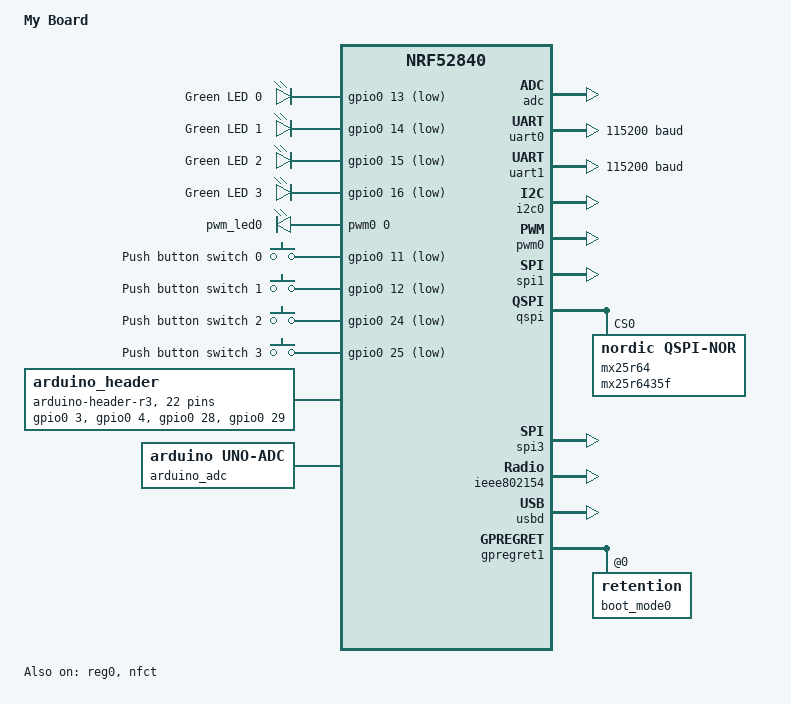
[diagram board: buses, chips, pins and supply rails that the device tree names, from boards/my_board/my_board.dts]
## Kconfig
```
menuconfig LED_SUBSYSTEM
    bool "Led Subsystem"
    default y

if LED_SUBSYSTEM

menuconfig LED_ADVANCED
    bool "LED Advanced system"
    default n

menu "Expert settings"
    visible if LED_ADVANCED

config LED_DEBUG
    bool "Enable LED Debugging"

config CUSTOM_BLINK_PATTERN
    bool "Enable Custom Blink Pattern"

endmenu  # for Expert Settings

choice
    prompt "LED blink speed"
    default BLINK_TIME_1000MS

config BLINK_TIME_250MS
    bool "Fast"

config BLINK_TIME_1000MS
    bool "Medium"

config BLINK_TIME_2000MS
    bool "Slow"

endchoice

config BLINK_TIME_TIME_MS # we use this in main.c for example
    int # <-- no prompt = hidden variable
    default 250  if BLINK_TIME_250MS
    default 1000 if BLINK_TIME_1000MS
    default 2000 if BLINK_TIME_2000MS
    default 0

if LED_ADVANCED

config LED_BRIGHTNESS
    int "LED brightness (0-100)"
    range 0 100
    default 100

config LED_FADE_DURATION_MS
    int "Fade duration (ms)"
    range 0 5000
    default 500

endif # LED_ADVANCED

endif # LED_SUBSYSTEM

# Timer for led0 overaly
config APP_HEARTBEAT_PERIOD_MS
    int "Timer for Heartbeat on led0(ms)"
    range 100 2000
    default 500

source "Kconfig.zephyr"

rsource "drivers/our_driver/Kconfig"
```

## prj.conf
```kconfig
CONFIG_GPIO=y
CONFIG_LOG=y
CONFIG_SENSOR=y
CONFIG_OUR_DRIVER=y
CONFIG_SHELL=y
CONFIG_SHELL_BACKEND_SERIAL=y
CONFIG_LOG_CMDS=y
```

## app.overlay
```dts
/ {
	aliases {
		app-led = &led0;
		app-led2 = &led2; // new LED alias controlled by channel_get_my_impl() in our_driver.c
	};
};

/ {
	our_driver0: our_driver {
		compatible = "our,driver";
		status = "okay";
		led = <&led2>;  // LED controlled by our_driver()
	};
};
```

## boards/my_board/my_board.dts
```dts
/*
 * Copyright (c) 2017 Linaro Limited
 *
 * SPDX-License-Identifier: Apache-2.0
 */

/dts-v1/;
#include <nordic/nrf52840_qiaa.dtsi>
#include <nordic/nrf52840_partition.dtsi>
#include "my_board-pinctrl.dtsi"
#include <zephyr/dt-bindings/input/input-event-codes.h>

/ {
	model = "My Board";
	compatible = "iomoco,my_board";

	chosen {
		zephyr,console = &uart0;
		zephyr,shell-uart = &uart0;
		zephyr,uart-mcumgr = &uart0;
		zephyr,bt-mon-uart = &uart0;
		zephyr,bt-c2h-uart = &uart0;
		zephyr,ieee802154 = &ieee802154;
		zephyr,boot-mode = &boot_mode0;
	};

	leds {
		compatible = "gpio-leds";

		led0: led_0 {
			gpios = <&gpio0 13 GPIO_ACTIVE_LOW>;
			label = "Green LED 0";
		};

		led1: led_1 {
			gpios = <&gpio0 14 GPIO_ACTIVE_LOW>;
			label = "Green LED 1";
		};

		led2: led_2 {
			gpios = <&gpio0 15 GPIO_ACTIVE_LOW>;
			label = "Green LED 2";
		};

		led3: led_3 {
			gpios = <&gpio0 16 GPIO_ACTIVE_LOW>;
			label = "Green LED 3";
		};
	};

	pwmleds {
		compatible = "pwm-leds";

		pwm_led0: pwm_led_0 {
			pwms = <&pwm0 0 PWM_MSEC(20) PWM_POLARITY_INVERTED>;
		};
	};

	buttons {
		compatible = "gpio-keys";

		button0: button_0 {
			gpios = <&gpio0 11 (GPIO_PULL_UP | GPIO_ACTIVE_LOW)>;
			label = "Push button switch 0";
			zephyr,code = <INPUT_KEY_0>;
		};

		button1: button_1 {
			gpios = <&gpio0 12 (GPIO_PULL_UP | GPIO_ACTIVE_LOW)>;
			label = "Push button switch 1";
			zephyr,code = <INPUT_KEY_1>;
		};

		button2: button_2 {
			gpios = <&gpio0 24 (GPIO_PULL_UP | GPIO_ACTIVE_LOW)>;
			label = "Push button switch 2";
			zephyr,code = <INPUT_KEY_2>;
		};

		button3: button_3 {
			gpios = <&gpio0 25 (GPIO_PULL_UP | GPIO_ACTIVE_LOW)>;
			label = "Push button switch 3";
			zephyr,code = <INPUT_KEY_3>;
		};
	};

	arduino_header: connector {
		compatible = "arduino-header-r3";
		#gpio-cells = <2>;
		gpio-map-mask = <0xffffffff 0xffffffc0>;
		gpio-map-pass-thru = <0 0x3f>;
		gpio-map = <0 0 &gpio0 3 0>,	/* A0 */
			   <1 0 &gpio0 4 0>,	/* A1 */
			   <2 0 &gpio0 28 0>,	/* A2 */
			   <3 0 &gpio0 29 0>,	/* A3 */
			   <4 0 &gpio0 30 0>,	/* A4 */
			   <5 0 &gpio0 31 0>,	/* A5 */
			   <6 0 &gpio1 1 0>,	/* D0 */
			   <7 0 &gpio1 2 0>,	/* D1 */
			   <8 0 &gpio1 3 0>,	/* D2 */
			   <9 0 &gpio1 4 0>,	/* D3 */
			   <10 0 &gpio1 5 0>,	/* D4 */
			   <11 0 &gpio1 6 0>,	/* D5 */
			   <12 0 &gpio1 7 0>,	/* D6 */
			   <13 0 &gpio1 8 0>,	/* D7 */
			   <14 0 &gpio1 10 0>,	/* D8 */
			   <15 0 &gpio1 11 0>,	/* D9 */
			   <16 0 &gpio1 12 0>,	/* D10 */
			   <17 0 &gpio1 13 0>,	/* D11 */
			   <18 0 &gpio1 14 0>,	/* D12 */
			   <19 0 &gpio1 15 0>,	/* D13 */
			   <20 0 &gpio0 26 0>,	/* D14 */
			   <21 0 &gpio0 27 0>;	/* D15 */
	};

	arduino_adc: analog-connector {
		compatible = "arduino,uno-adc";
		#io-channel-cells = <1>;
		io-channel-map = <0 &adc 1>,	/* A0 = P0.3 = AIN1 */
				 <1 &adc 2>,	/* A1 = P0.4 = AIN2 */
				 <2 &adc 4>,	/* A2 = P0.28 = AIN4 */
				 <3 &adc 5>,	/* A3 = P0.29 = AIN5 */
				 <4 &adc 6>,	/* A4 = P0.30 = AIN6 */
				 <5 &adc 7>;	/* A5 = P0.31 = AIN7 */
	};

	/* These aliases are provided for compatibility with samples */
	aliases {
		led0 = &led0;
		led1 = &led1;
		led2 = &led2;
		led3 = &led3;
		pwm-led0 = &pwm_led0;
		sw0 = &button0;
		sw1 = &button1;
		sw2 = &button2;
		sw3 = &button3;
		bootloader-led0 = &led0;
		mcuboot-button0 = &button0;
		mcuboot-led0 = &led0;
		watchdog0 = &wdt0;
	};
};

&reg0 {
	status = "okay";
};

&reg1 {
	regulator-initial-mode = <NRF5X_REG_MODE_DCDC>;
};

&adc {
	status = "okay";
};

&uicr {
	gpio-as-nreset;
};

&gpiote {
	status = "okay";
};

&nfct {
	status = "okay";
};

&gpio0 {
	status = "okay";
	gpio-reserved-ranges = <0 2>, <6 1>, <8 3>, <17 7>;
	gpio-line-names = "XL1", "XL2", "AREF", "A0", "A1", "RTS", "TXD",
		"CTS", "RXD", "NFC1", "NFC2", "BUTTON1", "BUTTON2", "LED1",
		"LED2", "LED3", "LED4", "QSPI CS", "RESET", "QSPI CLK",
		"QSPI DIO0", "QSPI DIO1", "QSPI DIO2", "QSPI DIO3","BUTTON3",
		"BUTTON4", "SDA", "SCL", "A2", "A3", "A4", "A5";
};

&gpio1 {
	status = "okay";
	gpio-line-names = "", "D0", "D1", "D2", "D3", "D4", "D5", "D6",
		"D7", "", "D8", "D9", "D10", "D11", "D12", "D13";
};

&uart0 {
	compatible = "nordic,nrf-uarte";
	status = "okay";
	current-speed = <115200>;
	pinctrl-0 = <&uart0_default>;
	pinctrl-1 = <&uart0_sleep>;
	pinctrl-names = "default", "sleep";
};

arduino_serial: &uart1 {
	current-speed = <115200>;
	pinctrl-0 = <&uart1_default>;
	pinctrl-1 = <&uart1_sleep>;
	pinctrl-names = "default", "sleep";
};

arduino_i2c: &i2c0 {
	compatible = "nordic,nrf-twi";
	status = "okay";
	pinctrl-0 = <&i2c0_default>;
	pinctrl-1 = <&i2c0_sleep>;
	pinctrl-names = "default", "sleep";
};

&i2c1 {
	compatible = "nordic,nrf-twi";
	/* Cannot be used together with spi1. */
	/* status = "okay"; */
	pinctrl-0 = <&i2c1_default>;
	pinctrl-1 = <&i2c1_sleep>;
	pinctrl-names = "default", "sleep";
};

&pwm0 {
	status = "okay";
	pinctrl-0 = <&pwm0_default>;
	pinctrl-1 = <&pwm0_sleep>;
	pinctrl-names = "default", "sleep";
};

&spi0 {
	compatible = "nordic,nrf-spi";
	/* Cannot be used together with i2c0. */
	/* status = "okay"; */
	pinctrl-0 = <&spi0_default>;
	pinctrl-1 = <&spi0_sleep>;
	pinctrl-names = "default", "sleep";
};

&spi1 {
	compatible = "nordic,nrf-spi";
	status = "okay";
	pinctrl-0 = <&spi1_default>;
	pinctrl-1 = <&spi1_sleep>;
	pinctrl-names = "default", "sleep";
};

&spi2 {
	compatible = "nordic,nrf-spi";
	status = "disabled";
	pinctrl-0 = <&spi2_default>;
	pinctrl-1 = <&spi2_sleep>;
	pinctrl-names = "default", "sleep";
};

&qspi {
	status = "okay";
	pinctrl-0 = <&qspi_default>;
	pinctrl-1 = <&qspi_sleep>;
	pinctrl-names = "default", "sleep";

	mx25r64: mx25r6435f@0 {
		compatible = "nordic,qspi-nor";
		reg = <0>;
		/* MX25R64 supports only pp and pp4io */
		writeoc = "pp4io";
		/* MX25R64 supports all readoc options */
		readoc = "read4io";
		sck-frequency = <8000000>;
		jedec-id = [c2 28 17];
		sfdp-bfp = [
			e5 20 f1 ff  ff ff ff 03  44 eb 08 6b  08 3b 04 bb
			ee ff ff ff  ff ff 00 ff  ff ff 00 ff  0c 20 0f 52
			10 d8 00 ff  23 72 f5 00  82 ed 04 cc  44 83 68 44
			30 b0 30 b0  f7 c4 d5 5c  00 be 29 ff  f0 d0 ff ff
		];
		size = <67108864>;
		has-dpd;
		t-enter-dpd = <10000>;
		t-exit-dpd = <35000>;
	};
};

arduino_spi: &spi3 {
	status = "okay";
	cs-gpios = <&arduino_header 16 GPIO_ACTIVE_LOW>; /* D10 */
	pinctrl-0 = <&spi3_default>;
	pinctrl-1 = <&spi3_sleep>;
	pinctrl-names = "default", "sleep";
};

&ieee802154 {
	status = "okay";
};

zephyr_udc0: &usbd {
	compatible = "nordic,nrf-usbd";
	status = "okay";
};

&gpregret1 {
	status = "okay";

	boot_mode0: boot_mode@0 {
		compatible = "zephyr,retention";
		status = "okay";
		reg = <0x0 0x1>;
	};
};
```

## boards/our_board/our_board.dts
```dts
/*
 * Copyright (c) 2017 Linaro Limited
 *
 * SPDX-License-Identifier: Apache-2.0
 */

/dts-v1/;
#include <nordic/nrf52840_qiaa.dtsi>
#include <nordic/nrf52840_partition.dtsi>
#include "our_board-pinctrl.dtsi"
#include <zephyr/dt-bindings/input/input-event-codes.h>

/ {
	model = "Our Board";
	compatible = "iomoco,our_board";

	chosen {
		zephyr,console = &uart0;
		zephyr,shell-uart = &uart0;
		zephyr,uart-mcumgr = &uart0;
		zephyr,bt-mon-uart = &uart0;
		zephyr,bt-c2h-uart = &uart0;
		zephyr,ieee802154 = &ieee802154;
		zephyr,boot-mode = &boot_mode0;
	};

	leds {
		compatible = "gpio-leds";

		led0: led_0 {
			gpios = <&gpio0 13 GPIO_ACTIVE_LOW>;
			label = "Green LED 0";
		};

		led1: led_1 {
			gpios = <&gpio0 14 GPIO_ACTIVE_LOW>;
			label = "Green LED 1";
		};

		led2: led_2 {
			gpios = <&gpio0 15 GPIO_ACTIVE_LOW>;
			label = "Green LED 2";
		};

		led3: led_3 {
			gpios = <&gpio0 16 GPIO_ACTIVE_LOW>;
			label = "Green LED 3";
		};
	};

	pwmleds {
		compatible = "pwm-leds";

		pwm_led0: pwm_led_0 {
			pwms = <&pwm0 0 PWM_MSEC(20) PWM_POLARITY_INVERTED>;
		};
	};

	buttons {
		compatible = "gpio-keys";

		button0: button_0 {
			gpios = <&gpio0 11 (GPIO_PULL_UP | GPIO_ACTIVE_LOW)>;
			label = "Push button switch 0";
			zephyr,code = <INPUT_KEY_0>;
		};

		button1: button_1 {
			gpios = <&gpio0 12 (GPIO_PULL_UP | GPIO_ACTIVE_LOW)>;
			label = "Push button switch 1";
			zephyr,code = <INPUT_KEY_1>;
		};

		button2: button_2 {
			gpios = <&gpio0 24 (GPIO_PULL_UP | GPIO_ACTIVE_LOW)>;
			label = "Push button switch 2";
			zephyr,code = <INPUT_KEY_2>;
		};

		button3: button_3 {
			gpios = <&gpio0 25 (GPIO_PULL_UP | GPIO_ACTIVE_LOW)>;
			label = "Push button switch 3";
			zephyr,code = <INPUT_KEY_3>;
		};
	};

	arduino_header: connector {
		compatible = "arduino-header-r3";
		#gpio-cells = <2>;
		gpio-map-mask = <0xffffffff 0xffffffc0>;
		gpio-map-pass-thru = <0 0x3f>;
		gpio-map = <0 0 &gpio0 3 0>,	/* A0 */
			   <1 0 &gpio0 4 0>,	/* A1 */
			   <2 0 &gpio0 28 0>,	/* A2 */
			   <3 0 &gpio0 29 0>,	/* A3 */
			   <4 0 &gpio0 30 0>,	/* A4 */
			   <5 0 &gpio0 31 0>,	/* A5 */
			   <6 0 &gpio1 1 0>,	/* D0 */
			   <7 0 &gpio1 2 0>,	/* D1 */
			   <8 0 &gpio1 3 0>,	/* D2 */
			   <9 0 &gpio1 4 0>,	/* D3 */
			   <10 0 &gpio1 5 0>,	/* D4 */
			   <11 0 &gpio1 6 0>,	/* D5 */
			   <12 0 &gpio1 7 0>,	/* D6 */
			   <13 0 &gpio1 8 0>,	/* D7 */
			   <14 0 &gpio1 10 0>,	/* D8 */
			   <15 0 &gpio1 11 0>,	/* D9 */
			   <16 0 &gpio1 12 0>,	/* D10 */
			   <17 0 &gpio1 13 0>,	/* D11 */
			   <18 0 &gpio1 14 0>,	/* D12 */
			   <19 0 &gpio1 15 0>,	/* D13 */
			   <20 0 &gpio0 26 0>,	/* D14 */
			   <21 0 &gpio0 27 0>;	/* D15 */
	};

	arduino_adc: analog-connector {
		compatible = "arduino,uno-adc";
		#io-channel-cells = <1>;
		io-channel-map = <0 &adc 1>,	/* A0 = P0.3 = AIN1 */
				 <1 &adc 2>,	/* A1 = P0.4 = AIN2 */
				 <2 &adc 4>,	/* A2 = P0.28 = AIN4 */
				 <3 &adc 5>,	/* A3 = P0.29 = AIN5 */
				 <4 &adc 6>,	/* A4 = P0.30 = AIN6 */
				 <5 &adc 7>;	/* A5 = P0.31 = AIN7 */
	};

	/* These aliases are provided for compatibility with samples */
	aliases {
		led0 = &led0;
		led1 = &led1;
		led2 = &led2;
		led3 = &led3;
		pwm-led0 = &pwm_led0;
		sw0 = &button0;
		sw1 = &button1;
		sw2 = &button2;
		sw3 = &button3;
		bootloader-led0 = &led0;
		mcuboot-button0 = &button0;
		mcuboot-led0 = &led0;
		watchdog0 = &wdt0;
	};
};

&reg0 {
	status = "okay";
};

&reg1 {
	regulator-initial-mode = <NRF5X_REG_MODE_DCDC>;
};

&adc {
	status = "okay";
};

&uicr {
	gpio-as-nreset;
};

&gpiote {
	status = "okay";
};

&nfct {
	status = "okay";
};

&gpio0 {
	status = "okay";
	gpio-reserved-ranges = <0 2>, <6 1>, <8 3>, <17 7>;
	gpio-line-names = "XL1", "XL2", "AREF", "A0", "A1", "RTS", "TXD",
		"CTS", "RXD", "NFC1", "NFC2", "BUTTON1", "BUTTON2", "LED1",
		"LED2", "LED3", "LED4", "QSPI CS", "RESET", "QSPI CLK",
		"QSPI DIO0", "QSPI DIO1", "QSPI DIO2", "QSPI DIO3","BUTTON3",
		"BUTTON4", "SDA", "SCL", "A2", "A3", "A4", "A5";
};

&gpio1 {
	status = "okay";
	gpio-line-names = "", "D0", "D1", "D2", "D3", "D4", "D5", "D6",
		"D7", "", "D8", "D9", "D10", "D11", "D12", "D13";
};

&uart0 {
	compatible = "nordic,nrf-uarte";
	status = "okay";
	current-speed = <115200>;
	pinctrl-0 = <&uart0_default>;
	pinctrl-1 = <&uart0_sleep>;
	pinctrl-names = "default", "sleep";
};

arduino_serial: &uart1 {
	current-speed = <115200>;
	pinctrl-0 = <&uart1_default>;
	pinctrl-1 = <&uart1_sleep>;
	pinctrl-names = "default", "sleep";
};

arduino_i2c: &i2c0 {
	compatible = "nordic,nrf-twi";
	status = "okay";
	pinctrl-0 = <&i2c0_default>;
	pinctrl-1 = <&i2c0_sleep>;
	pinctrl-names = "default", "sleep";
};

&i2c1 {
	compatible = "nordic,nrf-twi";
	/* Cannot be used together with spi1. */
	/* status = "okay"; */
	pinctrl-0 = <&i2c1_default>;
	pinctrl-1 = <&i2c1_sleep>;
	pinctrl-names = "default", "sleep";
};

&pwm0 {
	status = "okay";
	pinctrl-0 = <&pwm0_default>;
	pinctrl-1 = <&pwm0_sleep>;
	pinctrl-names = "default", "sleep";
};

&spi0 {
	compatible = "nordic,nrf-spi";
	/* Cannot be used together with i2c0. */
	/* status = "okay"; */
	pinctrl-0 = <&spi0_default>;
	pinctrl-1 = <&spi0_sleep>;
	pinctrl-names = "default", "sleep";
};

&spi1 {
	compatible = "nordic,nrf-spi";
	status = "okay";
	pinctrl-0 = <&spi1_default>;
	pinctrl-1 = <&spi1_sleep>;
	pinctrl-names = "default", "sleep";
};

&spi2 {
	compatible = "nordic,nrf-spi";
	status = "disabled";
	pinctrl-0 = <&spi2_default>;
	pinctrl-1 = <&spi2_sleep>;
	pinctrl-names = "default", "sleep";
};

&qspi {
	status = "okay";
	pinctrl-0 = <&qspi_default>;
	pinctrl-1 = <&qspi_sleep>;
	pinctrl-names = "default", "sleep";

	mx25r64: mx25r6435f@0 {
		compatible = "nordic,qspi-nor";
		reg = <0>;
		/* MX25R64 supports only pp and pp4io */
		writeoc = "pp4io";
		/* MX25R64 supports all readoc options */
		readoc = "read4io";
		sck-frequency = <8000000>;
		jedec-id = [c2 28 17];
		sfdp-bfp = [
			e5 20 f1 ff  ff ff ff 03  44 eb 08 6b  08 3b 04 bb
			ee ff ff ff  ff ff 00 ff  ff ff 00 ff  0c 20 0f 52
			10 d8 00 ff  23 72 f5 00  82 ed 04 cc  44 83 68 44
			30 b0 30 b0  f7 c4 d5 5c  00 be 29 ff  f0 d0 ff ff
		];
		size = <67108864>;
		has-dpd;
		t-enter-dpd = <10000>;
		t-exit-dpd = <35000>;
	};
};

arduino_spi: &spi3 {
	status = "okay";
	cs-gpios = <&arduino_header 16 GPIO_ACTIVE_LOW>; /* D10 */
	pinctrl-0 = <&spi3_default>;
	pinctrl-1 = <&spi3_sleep>;
	pinctrl-names = "default", "sleep";
};

&ieee802154 {
	status = "okay";
};

zephyr_udc0: &usbd {
	compatible = "nordic,nrf-usbd";
	status = "okay";
};

&gpregret1 {
	status = "okay";

	boot_mode0: boot_mode@0 {
		compatible = "zephyr,retention";
		status = "okay";
		reg = <0x0 0x1>;
	};
};
```

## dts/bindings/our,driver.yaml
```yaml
description: Our simple GPIO Driver
compatible: "our,driver"
include: base.yaml

properties:
  led:
    type: phandle
    required: true
    description: LED node (from a gpio-leds node) that this driver reads and toggles
```

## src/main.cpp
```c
#include <zephyr/drivers/gpio.h>
#include <zephyr/drivers/sensor.h>
#include <zephyr/kernel.h>
#include <zephyr/logging/log.h>

// refer to Heartbeat LED 
//#define LED_NODE DT_ALIAS(led1)
#define HBEAT_LED_NODE DT_ALIAS(app_led)

// Used by Dr Barry on Norid nRF52840-DK Board for LED0 Blink
//#define SLEEP_TIME_MS 1000 

/* The devicetree node identifier for the "led0" alias. */
//#define LED_NODE DT_ALIAS(led0)

// static const struct gpio_dt_spec led = GPIO_DT_SPEC_GET(LED_NODE, gpios);

/* The devicetree node identifier for the "Heart Beat LED alias. */
static const struct gpio_dt_spec hbeat_led = GPIO_DT_SPEC_GET(HBEAT_LED_NODE, gpios);

LOG_MODULE_REGISTER(main, LOG_LEVEL_INF);

namespace {
  // led_on = true:  sensor_sample_fetch() -> our driver turns LED2 ON
  // led_on = false: sensor_channel_get()  -> our driver turns LED2 OFF
  void test(bool led_on) {
    const struct device* driver = DEVICE_DT_GET(DT_NODELABEL(our_driver0));

    if (led_on) {
      int ret = sensor_sample_fetch(driver);
      LOG_INF("Sample fetch ret %d, LED2 is now ON", ret);
    } else {
      struct sensor_value val;
      int ret = sensor_channel_get(driver, SENSOR_CHAN_AMBIENT_TEMP, &val);
      LOG_INF("Channel get ret %d, LED2 was %s, now OFF", ret, val.val1 ? "ON" : "OFF");
    }
   }
  }


int main(void)
{
    bool led_state = true;
    bool hbeat_led_state = true;

   // if (!gpio_is_ready_dt(&led)) return 0;
    //if (gpio_pin_configure_dt(&led, GPIO_OUTPUT_ACTIVE) < 0) return 0;

    // Check Heart Beat LED is ready and ACTIVE as an output
    if (!gpio_is_ready_dt(&hbeat_led)) return 0;
    if (gpio_pin_configure_dt(&hbeat_led, GPIO_OUTPUT_ACTIVE) < 0) return 0;

    while (1) {
      
      //if (gpio_pin_toggle_dt(&led) < 0) return 0;
      // led_state = !led_state;
      // Toggle led state
      // LOG_INF("LED state: %s", led_state ? "ON" : "OFF");
      //  k_msleep(SLEEP_TIME_MS);
      //  k_msleep(CONFIG_BLINK_TIME_TIME_MS);

        // Attempt to Toggle the Heart beat LED state: return to OS if it fails to Toggle
        if (gpio_pin_toggle_dt(&hbeat_led) < 0) return 0;
        // Toggle Heart beat state variable
        hbeat_led_state = !hbeat_led_state;
        // Print out the Heartbeat led state
        LOG_INF("Heartbeat LED state: %s", hbeat_led_state ? "ON" : "OFF");
        // Ask our driver to turn LED2 ON (fetch) or OFF (channel get) to match the heartbeat
        //test(hbeat_led_state);
        // WAIT for HEARTBEAT Delay Heart beat LED
        k_msleep(CONFIG_APP_HEARTBEAT_PERIOD_MS);
    }
    return 0;
}
```
